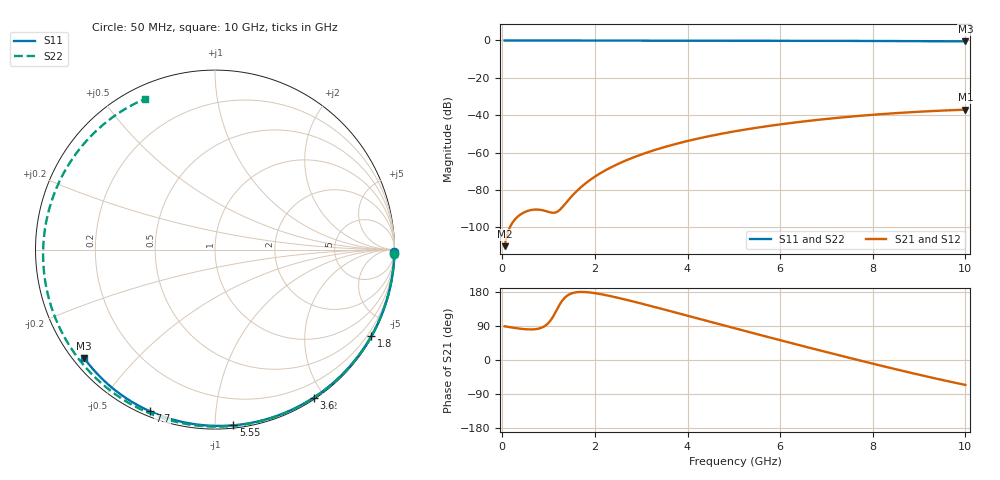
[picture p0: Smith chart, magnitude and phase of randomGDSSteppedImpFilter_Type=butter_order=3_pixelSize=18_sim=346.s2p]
! freq	dB(S11)	phase(S11)	dB(S12)	phase(S12)
!  dB(S21)	phase(S21)	dB(S22)	phase(S22)
!S-par simulation data
#  GHz  S  DB  R 50
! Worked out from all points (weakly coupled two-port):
!   200 points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, 50 MHz to 10 GHz, reference 50 ohm
!   highest |S21| = -37.01 dB at 10 GHz (marker M1); lowest = -110.0 dB at 50 MHz (marker M2)
!   lowest |S11| = -0.5 dB at 10 GHz (marker M3), VSWR 36.59, Z = 1.54 - j18 ohm
!   |S11| at or under -10 dB: nowhere
!   |S22| runs from -0.7 to 0.0 dB; largest |S21 - S12| = 0
!   S11 on the Smith chart (normalised r, x): 50 MHz: open; 1.8 GHz: 0.03, -3.88; 3.6 GHz: 0.02, -1.87; 5.55 GHz: 0.02, -1.11; 7.7 GHz: 0.02, -0.67; 10 GHz: 0.03, -0.36
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0.05  -0.00 -0.8  -110.05 89.1  -110.05 89.1  -0.00 -1.4
0.8  -0.02 -13.0  -90.54 83.3  -90.54 83.3  -0.03 -21.5
1.6  -0.03 -25.7  -80.75 178.8  -80.75 178.8  -0.05 -42.6
1.65  -0.03 -26.5  -79.57 179.4  -79.57 179.4  -0.06 -43.9
1.75  -0.04 -28.1  -77.40 179.6  -77.40 179.6  -0.06 -46.4
1.8  -0.04 -28.9  -76.40 179.3  -76.40 179.3  -0.06 -47.7
2.1  -0.04 -33.6  -71.29 174.4  -71.29 174.4  -0.07 -55.3
2.5  -0.05 -39.8  -66.05 164.1  -66.05 164.1  -0.08 -65.3
2.9  -0.06 -45.9  -61.93 152.1  -61.93 152.1  -0.10 -75.0
3.4  -0.07 -53.4  -57.77 136.3  -57.77 136.3  -0.11 -86.9
3.6  -0.08 -56.4  -56.34 129.9  -56.34 129.9  -0.12 -91.6
4.3  -0.09 -66.6  -52.08 107.1  -52.08 107.1  -0.15 -107.5
5.05  -0.12 -77.2  -48.48 82.7  -48.48 82.7  -0.19 -124.1
5.55  -0.14 -84.0  -46.48 66.6  -46.48 66.6  -0.21 -135.0
6.15  -0.16 -92.1  -44.41 47.5  -44.41 47.5  -0.25 -148.1
6.7  -0.19 -99.3  -42.78 30.2  -42.78 30.2  -0.30 -160.1
7.2  -0.22 -105.7  -41.49 14.7  -41.49 14.7  -0.34 -171.3
7.7  -0.26 -112.0  -40.36 -0.6  -40.36 -0.6  -0.39 177.1
8.35  -0.31 -120.1  -39.12 -20.1  -39.12 -20.1  -0.46 161.3
9.15  -0.38 -130.0  -37.93 -43.1  -37.93 -43.1  -0.55 140.2
9.55  -0.42 -134.9  -37.46 -54.0  -37.46 -54.0  -0.61 128.7
10  -0.47 -140.4  -37.01 -65.7  -37.01 -65.7  -0.67 115.0
